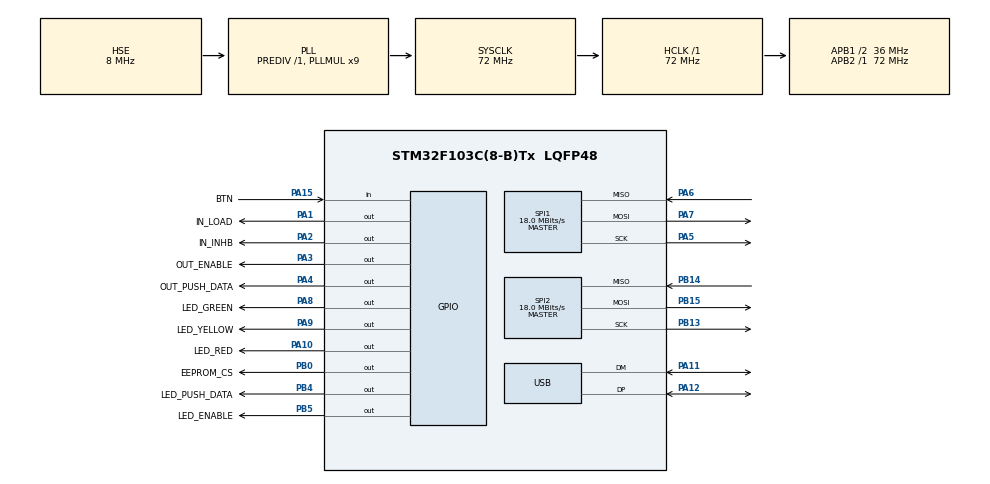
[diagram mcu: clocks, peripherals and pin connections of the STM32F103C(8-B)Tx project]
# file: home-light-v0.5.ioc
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FREERTOS.Tasks01=defaultTask,24,128,StartDefaultTask,Default,NULL,Dynamic,NULL,NULL;myTask02,8,128,StartTask02,Default,NULL,Dynamic,NULL,NULL;myTask03,8,128,StartTask03,Default,NULL,Dynamic,NULL,NULL
Mcu.Family=STM32F1
Mcu.Name=STM32F103C(8-B)Tx
Mcu.Package=LQFP48
NVIC.PriorityGroup=NVIC_PRIORITYGROUP_4
NVIC.TIM4_IRQn=true\:0\:0\:false\:false\:true\:false\:false\:true
NVIC.TimeBase=TIM4_IRQn
NVIC.TimeBaseIP=TIM4
NVIC.USB_LP_CAN1_RX0_IRQn=true\:0\:0\:false\:false\:true\:false\:false\:true
PA1.GPIO_Label=IN_LOAD
PA1.Signal=GPIO_Output
PA10.GPIO_Label=LED_RED
PA10.Signal=GPIO_Output
PA11.Mode=Device
PA11.Signal=USB_DM
PA12.Mode=Device
PA12.Signal=USB_DP
PA13.Mode=Serial_Wire
PA13.Signal=SYS_JTMS-SWDIO
PA14.Mode=Serial_Wire
PA14.Signal=SYS_JTCK-SWCLK
PA15.GPIO_Label=BTN
PA15.Signal=GPIO_Input
PA2.GPIO_Label=IN_INHB
PA2.Signal=GPIO_Output
PA3.GPIO_Label=OUT_ENABLE
PA3.PinState=GPIO_PIN_SET
PA3.Signal=GPIO_Output
PA4.GPIO_Label=OUT_PUSH_DATA
PA4.Signal=GPIO_Output
PA5.Mode=Full_Duplex_Master
PA5.Signal=SPI1_SCK
PA6.Mode=Full_Duplex_Master
PA6.Signal=SPI1_MISO
PA7.Mode=Full_Duplex_Master
PA7.Signal=SPI1_MOSI
PA8.GPIO_Label=LED_GREEN
PA8.Signal=GPIO_Output
PA9.GPIO_Label=LED_YELLOW
PA9.Signal=GPIO_Output
PB0.GPIO_Label=EEPROM_CS
PB0.GPIO_Speed=GPIO_SPEED_FREQ_LOW
PB0.PinState=GPIO_PIN_SET
PB0.Signal=GPIO_Output
PB13.Mode=Full_Duplex_Master
PB13.Signal=SPI2_SCK
PB14.Mode=Full_Duplex_Master
PB14.Signal=SPI2_MISO
PB15.Mode=Full_Duplex_Master
PB15.Signal=SPI2_MOSI
PB4.GPIO_Label=LED_PUSH_DATA
PB4.Signal=GPIO_Output
PB5.GPIO_Label=LED_ENABLE
PB5.PinState=GPIO_PIN_SET
PB5.Signal=GPIO_Output
PD0-OSC_IN.Mode=HSE-External-Oscillator
PD0-OSC_IN.Signal=RCC_OSC_IN
PD1-OSC_OUT.Mode=HSE-External-Oscillator
PD1-OSC_OUT.Signal=RCC_OSC_OUT
ProjectManager.HeapSize=0x200
ProjectManager.StackSize=0x400
ProjectManager.TargetToolchain=MDK-ARM V5.27
RCC.AHBFreq_Value=72000000
RCC.APB1CLKDivider=RCC_HCLK_DIV2
RCC.APB1Freq_Value=36000000
RCC.APB1TimFreq_Value=72000000
RCC.APB2Freq_Value=72000000
RCC.APB2TimFreq_Value=72000000
RCC.HCLKFreq_Value=72000000
RCC.PLLMUL=RCC_PLL_MUL9
RCC.SYSCLKFreq_VALUE=72000000
RCC.SYSCLKSource=RCC_SYSCLKSOURCE_PLLCLK
RCC.USBFreq_Value=48000000
RCC.USBPrescaler=RCC_USBCLKSOURCE_PLL_DIV1_5
SPI1.BaudRatePrescaler=SPI_BAUDRATEPRESCALER_4
SPI1.CalculateBaudRate=18.0 MBits/s
SPI1.Direction=SPI_DIRECTION_2LINES
SPI1.Mode=SPI_MODE_MASTER
SPI1.VirtualType=VM_MASTER
SPI2.CalculateBaudRate=18.0 MBits/s
SPI2.Direction=SPI_DIRECTION_2LINES
SPI2.Mode=SPI_MODE_MASTER
SPI2.VirtualType=VM_MASTER
USB_DEVICE.APP_RX_DATA_SIZE=512
USB_DEVICE.APP_TX_DATA_SIZE=512
USB_DEVICE.CLASS_NAME_FS=CDC
USB_DEVICE.VirtualMode=Cdc
USB_DEVICE.VirtualModeFS=Cdc_FS
VP_FREERTOS_VS_CMSIS_V2.Mode=CMSIS_V2
VP_SYS_VS_tim4.Mode=TIM4
VP_USB_DEVICE_VS_USB_DEVICE_CDC_FS.Mode=CDC_FS
board=custom

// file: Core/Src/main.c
/* USER CODE BEGIN Header */
/**
  ******************************************************************************
  * @file           : main.c
  * @brief          : Main program body
  ******************************************************************************
  * @attention
  *
  * <h2><center>&copy; Copyright (c) 2020 STMicroelectronics.
  * All rights reserved.</center></h2>
  *
  * This software component is licensed by ST under Ultimate Liberty license
  * SLA0044, the "License"; You may not use this file except in compliance with
  * the License. You may obtain a copy of the License at:
  *                             www.st.com/SLA0044
  *
  ******************************************************************************
  */
/* USER CODE END Header */
#include "main.h"
#include "cmsis_os.h"
#include "spi.h"
#include "usb_device.h"
#include "gpio.h"

/* USER CODE BEGIN Includes */
#include "cons.h"

/* USER CODE END Includes */

void SystemClock_Config(void);
void MX_FREERTOS_Init(void);

int main(void)
{

  /* MCU Configuration--------------------------------------------------------*/

  /* Reset of all peripherals, Initializes the Flash interface and the Systick. */

  HAL_Init();

  /* Configure the system clock */
  SystemClock_Config();

  /* Initialize all configured peripherals */
  MX_GPIO_Init();
  MX_SPI1_Init();
  MX_SPI2_Init();

  /* Init scheduler */
  osKernelInitialize();  /* Call init function for freertos objects (in freertos.c) */
  MX_FREERTOS_Init();
  /* Start scheduler */
  osKernelStart();

  /* We should never get here as control is now taken by the scheduler */
  /* Infinite loop */
  while (1)
  {

  }
}

void SystemClock_Config(void)
{
  RCC_OscInitTypeDef RCC_OscInitStruct = {0};
  RCC_ClkInitTypeDef RCC_ClkInitStruct = {0};
  RCC_PeriphCLKInitTypeDef PeriphClkInit = {0};

  /** Initializes the RCC Oscillators according to the specified parameters
  * in the RCC_OscInitTypeDef structure.
  */
  RCC_OscInitStruct.OscillatorType = RCC_OSCILLATORTYPE_HSE;
  RCC_OscInitStruct.HSEState = RCC_HSE_ON;
  RCC_OscInitStruct.HSEPredivValue = RCC_HSE_PREDIV_DIV1;
  RCC_OscInitStruct.HSIState = RCC_HSI_ON;
  RCC_OscInitStruct.PLL.PLLState = RCC_PLL_ON;
  RCC_OscInitStruct.PLL.PLLSource = RCC_PLLSOURCE_HSE;
  RCC_OscInitStruct.PLL.PLLMUL = RCC_PLL_MUL9;
  if (HAL_RCC_OscConfig(&RCC_OscInitStruct) != HAL_OK)
  {
    Error_Handler();
  }
  /** Initializes the CPU, AHB and APB buses clocks
  */
  RCC_ClkInitStruct.ClockType = RCC_CLOCKTYPE_HCLK|RCC_CLOCKTYPE_SYSCLK
                              |RCC_CLOCKTYPE_PCLK1|RCC_CLOCKTYPE_PCLK2;
  RCC_ClkInitStruct.SYSCLKSource = RCC_SYSCLKSOURCE_PLLCLK;
  RCC_ClkInitStruct.AHBCLKDivider = RCC_SYSCLK_DIV1;
  RCC_ClkInitStruct.APB1CLKDivider = RCC_HCLK_DIV2;
  RCC_ClkInitStruct.APB2CLKDivider = RCC_HCLK_DIV1;

  if (HAL_RCC_ClockConfig(&RCC_ClkInitStruct, FLASH_LATENCY_2) != HAL_OK)
  {
    Error_Handler();
  }
  PeriphClkInit.PeriphClockSelection = RCC_PERIPHCLK_USB;
  PeriphClkInit.UsbClockSelection = RCC_USBCLKSOURCE_PLL_DIV1_5;
  if (HAL_RCCEx_PeriphCLKConfig(&PeriphClkInit) != HAL_OK)
  {
    Error_Handler();
  }
}

void HAL_TIM_PeriodElapsedCallback(TIM_HandleTypeDef *htim)
{
  if (htim->Instance == TIM4) {
    HAL_IncTick();
  }
}

void Error_Handler(void)
{
  /* USER CODE BEGIN Error_Handler_Debug */
  /* User can add his own implementation to report the HAL error return state */
	while(1) {
		HAL_GPIO_WritePin(LED_RED_GPIO_Port, LED_RED_Pin, GPIO_PIN_SET);
    osDelay(20);
		HAL_GPIO_WritePin(LED_RED_GPIO_Port, LED_RED_Pin, GPIO_PIN_RESET);
		osDelay(2000);
	}
  /* USER CODE END Error_Handler_Debug */
}

/************************ (C) COPYRIGHT STMicroelectronics *****END OF FILE****/

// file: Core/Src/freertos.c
/* USER CODE BEGIN Header */
/**
  ******************************************************************************
  * File Name          : freertos.c
  * Description        : Code for freertos applications
  ******************************************************************************
  * @attention
  *
  * <h2><center>&copy; Copyright (c) 2020 STMicroelectronics.
  * All rights reserved.</center></h2>
  *
  * This software component is licensed by ST under Ultimate Liberty license
  * SLA0044, the "License"; You may not use this file except in compliance with
  * the License. You may obtain a copy of the License at:
  *                             www.st.com/SLA0044
  *
  ******************************************************************************
  */
/* USER CODE END Header */

#include "FreeRTOS.h"
#include "task.h"
#include "main.h"
#include "cmsis_os.h"

/* USER CODE BEGIN Includes */
#include "cons.h"
#include "config.h"
#include "outputs.h"
#include "input.h"
/* USER CODE END Includes */

/* Definitions for defaultTask */
osThreadId_t defaultTaskHandle;
const osThreadAttr_t defaultTask_attributes = {
  .name = "defaultTask",
  .priority = (osPriority_t) osPriorityNormal,
  .stack_size = 128 * 4
};
/* Definitions for myTask02 */
osThreadId_t myTask02Handle;
const osThreadAttr_t myTask02_attributes = {
  .name = "myTask02",
  .priority = (osPriority_t) osPriorityLow,
  .stack_size = 128 * 4
};
/* Definitions for myTask03 */
osThreadId_t myTask03Handle;
const osThreadAttr_t myTask03_attributes = {
  .name = "myTask03",
  .priority = (osPriority_t) osPriorityLow,
  .stack_size = 128 * 4
};

void StartDefaultTask(void *argument);
void StartTask02(void *argument);
void StartTask03(void *argument);

extern void MX_USB_DEVICE_Init(void);
void MX_FREERTOS_Init(void); /* (MISRA C 2004 rule 8.1) */

void MX_FREERTOS_Init(void) {

  /* Create the thread(s) */
  /* creation of defaultTask */
  defaultTaskHandle = osThreadNew(StartDefaultTask, NULL, &defaultTask_attributes);

  /* creation of myTask02 */
  myTask02Handle = osThreadNew(StartTask02, NULL, &myTask02_attributes);

  /* creation of myTask03 */
  myTask03Handle = osThreadNew(StartTask03, NULL, &myTask03_attributes);

}

/* USER CODE BEGIN Header_StartDefaultTask */
void ResetUsbConnection(){
	GPIO_InitTypeDef GPIO_InitStruct = {0};
    // ?????????????? ??? DP ??? ?????
	GPIO_InitStruct.Pin = GPIO_PIN_12;
	GPIO_InitStruct.Mode = GPIO_MODE_OUTPUT_PP;
	GPIO_InitStruct.Speed = GPIO_SPEED_FREQ_LOW;
	HAL_GPIO_Init(GPIOA, &GPIO_InitStruct);
	HAL_GPIO_WritePin(GPIOA, GPIO_PIN_12, GPIO_PIN_RESET); // ????????? DP ? "?????"
	//for(uint16_t i = 0; i < 10000; i++) {}; // ??????? ????
	HAL_Delay(1000);

	// ?????????????????? ??? ??? ?????? ? USB
	GPIO_InitStruct.Mode = GPIO_MODE_INPUT;
	GPIO_InitStruct.Pull = GPIO_NOPULL;
	HAL_GPIO_Init(GPIOA, &GPIO_InitStruct);
	//for(uint16_t i = 0; i < 10000; i++) {}; // ??????? ????
	HAL_Delay(100);

}

void SendData(SPI_HandleTypeDef * hspi, uint16_t data, uint8_t leds, uint8_t ports) {
	if (leds) HAL_GPIO_WritePin(LED_ENABLE_GPIO_Port, LED_ENABLE_Pin, GPIO_PIN_RESET);
	if (ports) HAL_GPIO_WritePin(OUT_ENABLE_GPIO_Port, OUT_ENABLE_Pin, GPIO_PIN_RESET);
	HAL_SPI_Transmit(hspi, (uint8_t *) &data, 2, 50);
	if (leds) {
		HAL_GPIO_WritePin(LED_PUSH_DATA_GPIO_Port, LED_PUSH_DATA_Pin, GPIO_PIN_RESET);
		HAL_GPIO_WritePin(LED_PUSH_DATA_GPIO_Port, LED_PUSH_DATA_Pin, GPIO_PIN_SET);
//		HAL_GPIO_WritePin(LED_ENABLE_GPIO_Port, LED_ENABLE_Pin, GPIO_PIN_SET);
	}
//	if (ports) HAL_GPIO_WritePin(OUT_ENABLE_GPIO_Port, OUT_ENABLE_Pin, GPIO_PIN_SET);
}

void LedsWalk(SPI_HandleTypeDef * hspi) {
	uint16_t data = 0;
	for(int i = 0; i<16; i++){
		data += 1 << i;
		SendData(hspi, data, 1, 0);
		osDelay(25);
	}
	for(int i = 0; i<16; i++){
		data &= ~(1 << i);
		SendData(hspi, data, 1, 0);
		osDelay(25);
	}
}
extern SPI_HandleTypeDef hspi2;

/**
  * @brief  Function implementing the defaultTask thread.
  * @param  argument: Not used
  * @retval None
  */
uint16_t sdtdata = 0;
/* USER CODE END Header_StartDefaultTask */
void StartDefaultTask(void *argument)
{
  /* init code for USB_DEVICE */
	ResetUsbConnection();
  MX_USB_DEVICE_Init();
	consInit();
	//inputInit();
	loadFromFlash();
	enableOutputs();
  /* USER CODE BEGIN StartDefaultTask */
  /* Infinite loop */
  for(;;)
  {

		//LedsWalk(&hspi2);
    osDelay(50);
	  HAL_GPIO_WritePin(IN_LOAD_GPIO_Port, IN_LOAD_Pin, GPIO_PIN_RESET);
	  osDelay(50);
		HAL_GPIO_WritePin(IN_LOAD_GPIO_Port, IN_LOAD_Pin, GPIO_PIN_SET);
		//HAL_GPIO_WritePin(IN_LOAD_GPIO_Port, IN_LOAD_Pin, GPIO_PIN_RESET);
		HAL_SPI_Receive(&hspi2, (uint8_t *)&sdtdata, 2, 50);
  }
  /* USER CODE END StartDefaultTask */
}

void StartTask02(void *argument)
{
  /* USER CODE BEGIN StartTask02 */
  /* Infinite loop */
  for(;;)
  {
		HAL_GPIO_WritePin(LED_GREEN_GPIO_Port, LED_GREEN_Pin, GPIO_PIN_SET);
    osDelay(20);
		HAL_GPIO_WritePin(LED_GREEN_GPIO_Port, LED_GREEN_Pin, GPIO_PIN_RESET);
		osDelay(500);
  }
  /* USER CODE END StartTask02 */
}

void StartTask03(void *argument)
{
  for(;;)
  {
    osDelay(1);
  }
}

/************************ (C) COPYRIGHT STMicroelectronics *****END OF FILE****/
